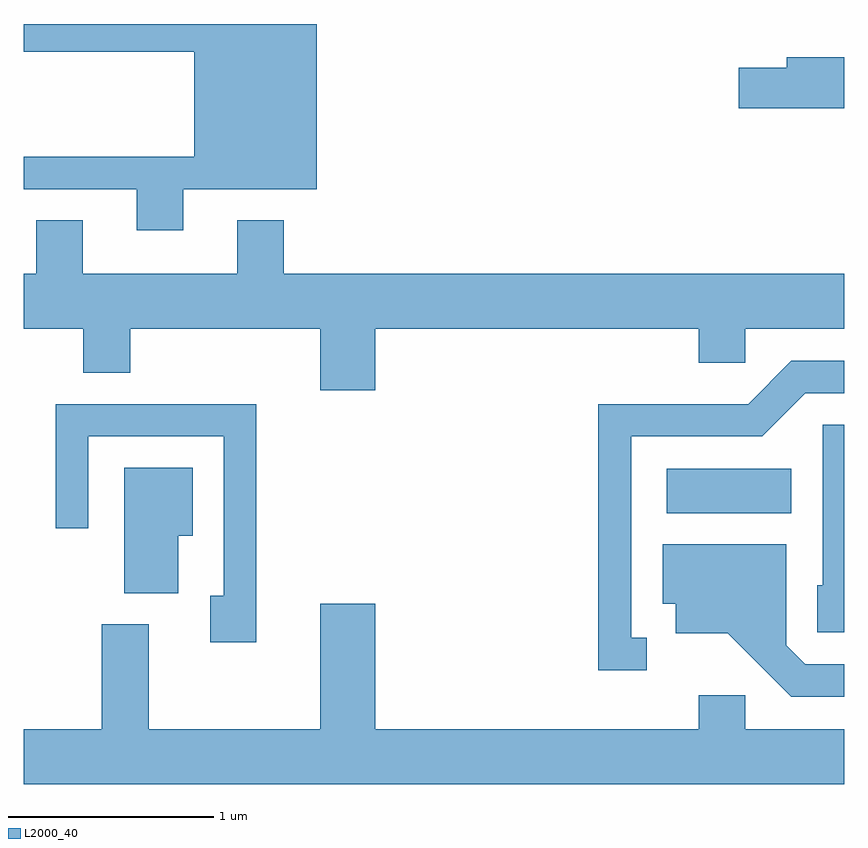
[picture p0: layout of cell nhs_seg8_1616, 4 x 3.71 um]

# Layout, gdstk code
import gdstk
lib = gdstk.Library(unit=1e-6, precision=1e-09)
def R(c, l, rs):  # rectangles x0, y0, x1, y1
    for r in rs: c.add(gdstk.rectangle(r[:2], r[2:], *l))
def P(c, l, *ps):  # polygons
    for p in ps: c.add(gdstk.Polygon(p, *l))
L2000_40 = (2000, 40)

nhs_seg8_1616 = lib.new_cell('nhs_seg8_1616')
R(nhs_seg8_1616, L2000_40, [(236.746,1839.956,237.354,1840.174)])
P(nhs_seg8_1616, L2000_40, [(234.389,1841.536),(235.039,1841.536),(235.039,1842.342),(233.611,1842.342),(233.611,1842.206),(234.441,1842.206),(234.441,1841.694),(233.611,1841.694),(233.611,1841.536),(234.161,1841.536),(234.161,1841.336),(234.389,1841.336)],
  [(237.611,1842.179),(237.331,1842.179),(237.331,1842.129),(237.096,1842.129),(237.096,1841.931),(237.611,1841.931)],
  [(233.901,1840.641),(234.129,1840.641),(234.129,1840.856),(235.056,1840.856),(235.056,1840.556),(235.324,1840.556),(235.324,1840.856),(236.901,1840.856),(236.901,1840.691),(237.129,1840.691),(237.129,1840.856),(237.611,1840.856),(237.611,1841.124),(234.879,1841.124),(234.879,1841.384),(234.651,1841.384),(234.651,1841.124),(233.899,1841.124),(233.899,1841.384),(233.671,1841.384),(233.671,1841.124),(233.611,1841.124),(233.611,1840.856),(233.901,1840.856)],
  [(236.648,1839.349),(236.574,1839.349),(236.574,1840.331),(237.212,1840.331),(237.422,1840.541),(237.611,1840.541),(237.611,1840.699),(237.354,1840.699),(237.144,1840.489),(236.411,1840.489),(236.411,1839.191),(236.648,1839.191)],
  [(234.744,1840.489),(233.766,1840.489),(233.766,1839.883),(233.924,1839.883),(233.924,1840.331),(234.586,1840.331),(234.586,1839.554),(234.521,1839.554),(234.521,1839.326),(234.744,1839.326)],
  [(237.611,1840.389),(237.506,1840.389),(237.506,1839.604),(237.481,1839.604),(237.481,1839.376),(237.611,1839.376)],
  [(234.364,1839.846),(234.434,1839.846),(234.434,1840.179),(234.101,1840.179),(234.101,1839.566),(234.364,1839.566)],
  [(237.611,1839.219),(237.422,1839.219),(237.329,1839.312),(237.329,1839.804),(236.726,1839.804),(236.726,1839.516),(236.791,1839.516),(236.791,1839.371),(237.044,1839.371),(237.354,1839.061),(237.611,1839.061)],
  [(237.611,1838.904),(237.129,1838.904),(237.129,1839.069),(236.901,1839.069),(236.901,1838.904),(235.324,1838.904),(235.324,1839.514),(235.056,1839.514),(235.056,1838.904),(234.219,1838.904),(234.219,1839.414),(233.991,1839.414),(233.991,1838.904),(233.611,1838.904),(233.611,1838.636),(237.611,1838.636)])

lib.write_gds('nhs_seg8_1616.gds')
